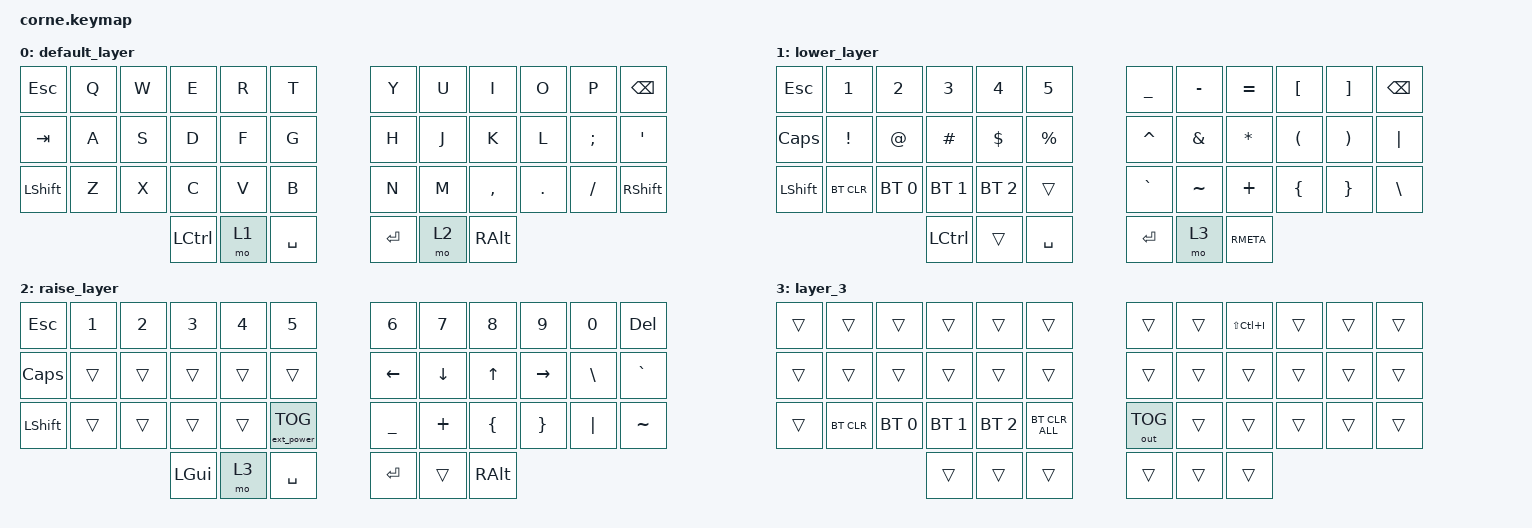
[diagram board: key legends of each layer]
/*
 * Copyright (c) 2020 The ZMK Contributors
 *
 * SPDX-License-Identifier: MIT
 */

#include <behaviors.dtsi>
#include <dt-bindings/zmk/bt.h>
#include <dt-bindings/zmk/ext_power.h>
#include <dt-bindings/zmk/keys.h>
#include <dt-bindings/zmk/outputs.h>

/ {
    keymap {
        compatible = "zmk,keymap";

        default_layer {
            // -----------------------------------------------------------------------------------------
            // |  TAB |  Q  |  W  |  E  |  R  |  T  |   |  Y  |  U   |  I  |  O  |  P  | BSPC |
            // | CTRL |  A  |  S  |  D  |  F  |  G  |   |  H  |  J   |  K  |  L  |  ;  |  '   |
            // | SHFT |  Z  |  X  |  C  |  V  |  B  |   |  N  |  M   |  ,  |  .  |  /  | ESC  |
            //                    | GUI | LWR | SPC |   | ENT | RSE  | ALT |

            bindings = <
&kp ESC    &kp Q  &kp W  &kp E      &kp R  &kp T        &kp Y    &kp U  &kp I      &kp O    &kp P     &kp BSPC
&kp TAB    &kp A  &kp S  &kp D      &kp F  &kp G        &kp H    &kp J  &kp K      &kp L    &kp SEMI  &kp SQT
&kp LSHFT  &kp Z  &kp X  &kp C      &kp V  &kp B        &kp N    &kp M  &kp COMMA  &kp DOT  &kp FSLH  &kp RSHIFT
                         &kp LCTRL  &mo 1  &kp SPACE    &kp RET  &mo 2  &kp RALT
            >;
        };

        lower_layer {
            // -----------------------------------------------------------------------------------------
            // |  TAB |  1  |  2  |  3  |  4  |  5  |   |  6  |  7  |  8  |  9  |  0  | BSPC |
            // | BTCLR| BT1 | BT2 | BT3 | BT4 | BT5 |   | LFT | DWN |  UP | RGT |     |      |
            // | SHFT |     |     |     |     |     |   |     |     |     |     |     |      |
            //                    | GUI |     | SPC |   | ENT |     | ALT |

            bindings = <
&kp ESC    &kp N1      &kp N2        &kp N3        &kp N4        &kp N5       &kp UNDER  &kp MINUS  &kp EQUAL  &kp LBKT  &kp RBKT  &kp BSPC
&kp CAPS   &kp EXCL    &kp AT        &kp HASH      &kp DLLR      &kp PRCNT    &kp CARET  &kp AMPS   &kp ASTRK  &kp LPAR  &kp RPAR  &kp PIPE
&kp LSHFT  &bt BT_CLR  &bt BT_SEL 0  &bt BT_SEL 1  &bt BT_SEL 2  &trans       &kp GRAVE  &kp TILDE  &kp PLUS   &kp LBRC  &kp RBRC  &kp BSLH
                                     &kp LCTRL     &trans        &kp SPACE    &kp RET    &mo 3      &kp RMETA
            >;
        };

        raise_layer {
            // -----------------------------------------------------------------------------------------
            // |  TAB |  !  |  @  |  #  |  $  |  %  |   |  ^  |  &  |  *  |  (  |  )  | BSPC |
            // | CTRL |     |     |     |     |     |   |  -  |  =  |  [  |  ]  |  \  |  `   |
            // | SHFT |     |     |     |     |     |   |  _  |  +  |  {  |  }  | "|" |  ~   |
            //                    | GUI |     | SPC |   | ENT |     | ALT |

            bindings = <
&kp ESC    &kp N1  &kp N2  &kp N3    &kp N4  &kp N5               &kp N6     &kp N7    &kp N8    &kp N9     &kp N0    &kp DEL
&kp CAPS   &trans  &trans  &trans    &trans  &trans               &kp LEFT   &kp DOWN  &kp UP    &kp RIGHT  &kp BSLH  &kp GRAVE
&kp LSHFT  &trans  &trans  &trans    &trans  &ext_power EP_TOG    &kp UNDER  &kp PLUS  &kp LBRC  &kp RBRC   &kp PIPE  &kp TILDE
                           &kp LGUI  &mo 3   &kp SPACE            &kp RET    &trans    &kp RALT
            >;
        };

        layer_3 {
            bindings = <
&trans  &trans      &trans        &trans        &trans        &trans            &trans        &trans  &kp LS(LC(I))  &trans  &trans  &trans
&trans  &trans      &trans        &trans        &trans        &trans            &trans        &trans  &trans         &trans  &trans  &trans
&trans  &bt BT_CLR  &bt BT_SEL 0  &bt BT_SEL 1  &bt BT_SEL 2  &bt BT_CLR_ALL    &out OUT_TOG  &trans  &trans         &trans  &trans  &trans
                                  &trans        &trans        &trans            &trans        &trans  &trans
            >;
        };
    };
};
